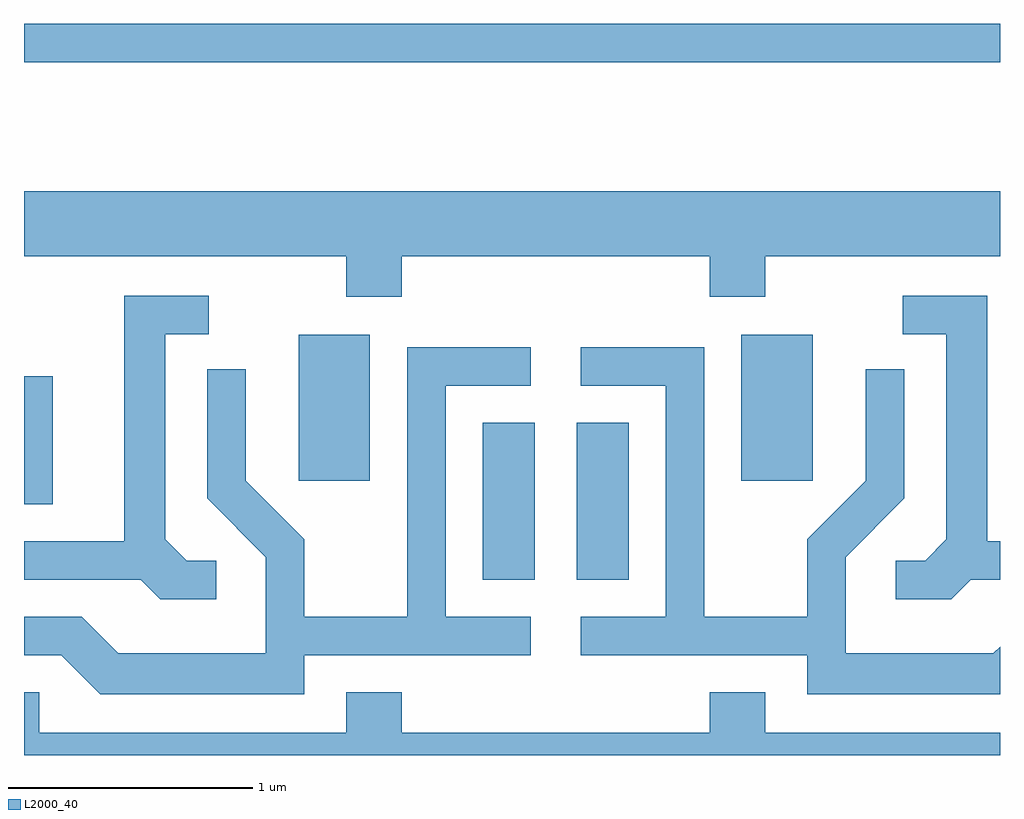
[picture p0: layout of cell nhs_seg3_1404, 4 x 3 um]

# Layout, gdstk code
import gdstk
lib = gdstk.Library(unit=1e-6, precision=1e-09)
def R(c, l, rs):  # rectangles x0, y0, x1, y1
    for r in rs: c.add(gdstk.rectangle(r[:2], r[2:], *l))
def P(c, l, *ps):  # polygons
    for p in ps: c.add(gdstk.Polygon(p, *l))
L2000_40 = (2000, 40)

nhs_seg3_1404 = lib.new_cell('nhs_seg3_1404')
R(nhs_seg3_1404, L2000_40, [(227.491,1204.611,227.704,1205.254), (227.876,1204.611,228.089,1205.254), (225.611,1204.921,225.729,1205.444), (226.736,1205.016,227.029,1205.614), (228.551,1205.016,228.844,1205.614), (225.611,1206.731,229.611,1206.889)])
P(nhs_seg3_1404, L2000_40, [(227.159,1205.936),(228.421,1205.936),(228.421,1205.771),(228.649,1205.771),(228.649,1205.936),(229.611,1205.936),(229.611,1206.204),(225.611,1206.204),(225.611,1205.936),(226.931,1205.936),(226.931,1205.771),(227.159,1205.771)],
  [(226.398,1204.689),(226.277,1204.689),(226.189,1204.777),(226.189,1205.616),(226.368,1205.616),(226.368,1205.774),(226.021,1205.774),(226.021,1204.769),(225.611,1204.769),(225.611,1204.611),(226.089,1204.611),(226.169,1204.531),(226.398,1204.531)],
  [(229.492,1204.611),(229.611,1204.611),(229.611,1204.769),(229.559,1204.769),(229.559,1205.774),(229.213,1205.774),(229.213,1205.616),(229.391,1205.616),(229.391,1204.777),(229.304,1204.689),(229.183,1204.689),(229.183,1204.531),(229.412,1204.531)],
  [(229.611,1204.336),(229.584,1204.309),(228.979,1204.309),(228.979,1204.704),(229.219,1204.944),(229.219,1205.473),(229.061,1205.473),(229.061,1205.017),(228.821,1204.777),(228.821,1204.459),(228.399,1204.459),(228.399,1205.564),(227.893,1205.564),(227.893,1205.406),(228.241,1205.406),(228.241,1204.459),(227.893,1204.459),(227.893,1204.301),(228.821,1204.301),(228.821,1204.141),(229.611,1204.141)],
  [(226.759,1204.301),(227.688,1204.301),(227.688,1204.459),(227.339,1204.459),(227.339,1205.406),(227.688,1205.406),(227.688,1205.564),(227.181,1205.564),(227.181,1204.459),(226.759,1204.459),(226.759,1204.777),(226.519,1205.017),(226.519,1205.473),(226.361,1205.473),(226.361,1204.944),(226.601,1204.704),(226.601,1204.309),(225.997,1204.309),(225.847,1204.459),(225.611,1204.459),(225.611,1204.301),(225.764,1204.301),(225.924,1204.141),(226.759,1204.141)],
  [(229.611,1203.984),(228.649,1203.984),(228.649,1204.149),(228.421,1204.149),(228.421,1203.984),(227.159,1203.984),(227.159,1204.149),(226.931,1204.149),(226.931,1203.984),(225.674,1203.984),(225.674,1204.149),(225.611,1204.149),(225.611,1203.892),(229.611,1203.892)])

lib.write_gds('nhs_seg3_1404.gds')
